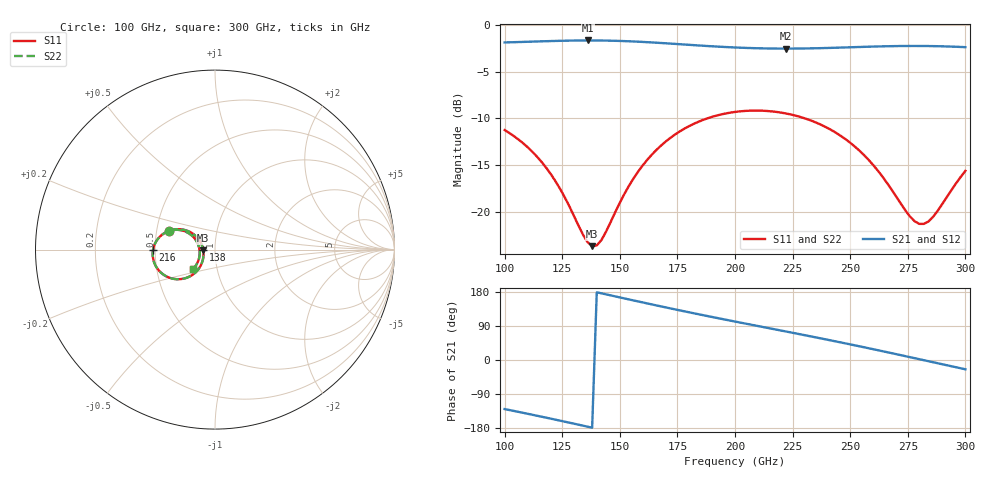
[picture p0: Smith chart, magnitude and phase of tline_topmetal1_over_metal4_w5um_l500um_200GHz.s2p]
#  GHZ S DB R 50
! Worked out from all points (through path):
!   101 points, 100 GHz to 300 GHz, reference 50 ohm
!   highest |S21| = -1.66 dB at 136 GHz (marker M1); lowest = -2.5 dB at 222 GHz (marker M2)
!   group delay of S21, straight-line fit = 3.51 ps
!   lowest |S11| = -23.7 dB at 138 GHz (marker M3), VSWR 1.14, Z = 43.8 - j0.29 ohm
!   |S11| at or under -10 dB: start of sweep to 187.9 GHz; 230.4 GHz to end of sweep
!   |S22| runs from -23.6 to -9.2 dB; largest |S21 - S12| = 1.3e-13
!   S11 on the Smith chart (normalised r, x): 100 GHz: 0.58, +0.13; 138 GHz: 0.88, -0.01; 216 GHz: 0.49, -0.00; 300 GHz: 0.76, -0.17
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100  -11.24 157.9  -1.87 -129.5  -1.87 -129.5  -11.23 158.0
110  -13.08 149.4  -1.80 -141.9  -1.80 -141.9  -13.07 149.5
118  -15.25 144.9  -1.73 -152.1  -1.73 -152.1  -15.25 145.0
126  -18.38 145.7  -1.68 -162.6  -1.68 -162.6  -18.37 145.8
134  -22.42 162.6  -1.66 -173.3  -1.66 -173.3  -22.40 162.7
136  -23.23 171.8  -1.66 -175.9  -1.66 -175.9  -23.21 171.9
138  -23.66 -177.1  -1.66 -178.6  -1.66 -178.6  -23.63 -177.0
142  -23.01 -154.8  -1.66 176.0  -1.66 176.0  -22.99 -154.8
152  -18.07 -131.2  -1.73 162.5  -1.73 162.5  -18.06 -131.2
160  -15.00 -131.1  -1.81 151.8  -1.81 151.8  -15.00 -131.0
168  -12.87 -135.8  -1.93 141.3  -1.93 141.3  -12.87 -135.7
184  -10.36 -149.6  -2.19 121.0  -2.19 121.0  -10.36 -149.5
200  -9.30 -164.8  -2.41 101.5  -2.41 101.5  -9.30 -164.7
216  -9.24 -179.9  -2.52 82.5  -2.52 82.5  -9.24 -179.8
222  -9.46 174.6  -2.53 75.4  -2.53 75.4  -9.45 174.7
234  -10.32 163.9  -2.50 61.0  -2.50 61.0  -10.31 164.0
252  -13.00 150.8  -2.37 38.7  -2.37 38.7  -13.00 150.9
268  -17.62 150.9  -2.27 18.0  -2.27 18.0  -17.61 151.0
276  -20.50 166.3  -2.24 7.4  -2.24 7.4  -20.49 166.4
282  -21.28 -171.3  -2.25 -0.6  -2.25 -0.6  -21.27 -171.2
286  -20.51 -156.9  -2.26 -5.9  -2.26 -5.9  -20.51 -156.7
300  -15.60 -138.5  -2.37 -24.5  -2.37 -24.5  -15.60 -138.4
